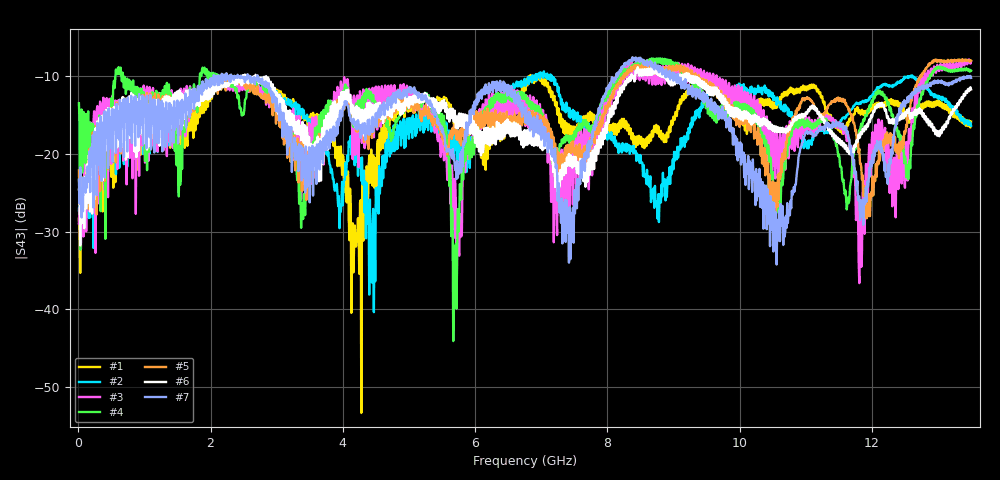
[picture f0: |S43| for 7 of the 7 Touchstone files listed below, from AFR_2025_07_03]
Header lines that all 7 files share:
!Keysight Technologies,N5231B,MY57181281,A.17.25.05
!Correction: S11(C  4-Port  )
!S12(C  4-Port  )
!S13(C  4-Port  )
!S14(C  4-Port  )
!S21(C  4-Port  )
!S22(C  4-Port  )
!S23(C  4-Port  )
!S24(C  4-Port  )
!S31(C  4-Port  )
!S32(C  4-Port  )
!S33(C  4-Port  )
!S34(C  4-Port  )
!S41(C  4-Port  )
!S42(C  4-Port  )
!S43(C  4-Port  )
!S44(C  4-Port  )
!S4P File: Measurements: <S11,S12,S13,S14>,
!<S21,S22,S23,S24>,
!<S31,S32,S33,S34>,
!<S41,S42,S43,S44>:
# Hz S  dB  R 50
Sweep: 10 MHz to 13.5 GHz
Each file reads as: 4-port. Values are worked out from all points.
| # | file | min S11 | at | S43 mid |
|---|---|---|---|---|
| 1 | SFF_8644_Test_Fixture_CH0_AFR_IF-100Hz_3m.s4p | -47.0 dB | 1.71 GHz | -11.9 dB at 6.76 GHz |
| 2 | SFF_8644_Test_Fixture_CH0_AFR_IF-100Hz_4m.s4p | -41.6 dB | 330 MHz | -11.3 dB at 6.76 GHz |
| 3 | SFF_8644_Test_Fixture_CH1_AFR_IF-100Hz_2m.s4p | -38.7 dB | 450 MHz | -16.4 dB at 6.76 GHz |
| 4 | SFF_8644_Test_Fixture_CH1_AFR_IF-100Hz_3m.s4p | -54.0 dB | 7.51 GHz | -12.7 dB at 6.76 GHz |
| 5 | SFF_8644_Test_Fixture_CH1_AFR_IF-100Hz_4m.s4p | -52.8 dB | 110 MHz | -16.2 dB at 6.76 GHz |
| 6 | SFF_8644_Test_Fixture_CH2_AFR_IF-100Hz_3m.s4p | -51.7 dB | 210 MHz | -18.9 dB at 6.76 GHz |
| 7 | SFF_8644_Test_Fixture_CH2_AFR_IF-100Hz_4m.s4p | -46.2 dB | 280 MHz | -16.0 dB at 6.76 GHz |
